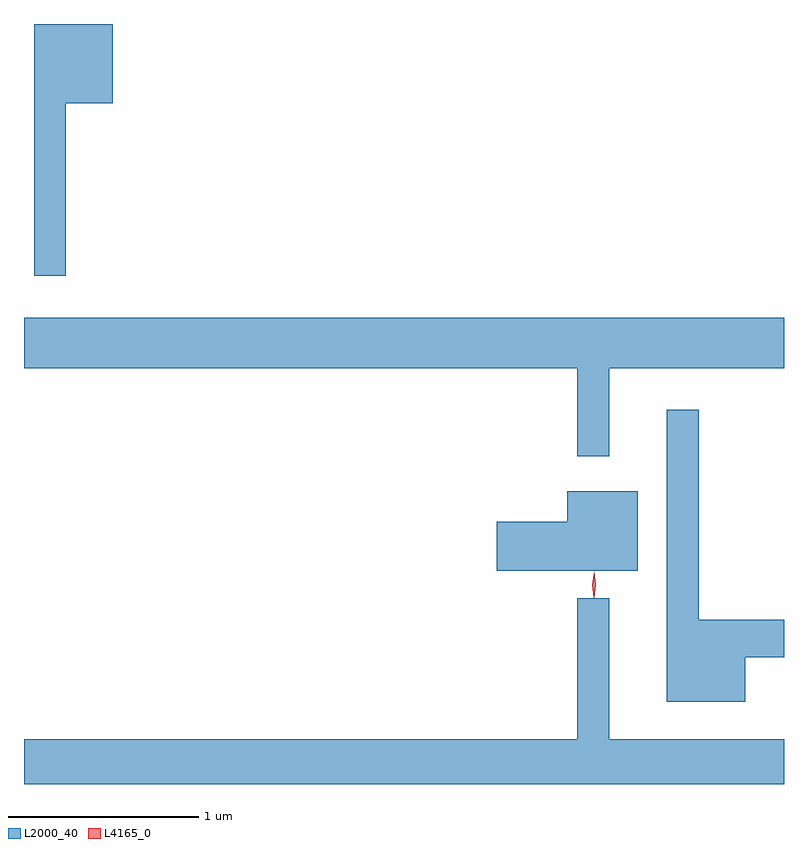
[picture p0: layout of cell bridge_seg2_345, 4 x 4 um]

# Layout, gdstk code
import gdstk
lib = gdstk.Library(unit=1e-6, precision=1e-09)
def P(c, l, *ps):  # polygons
    for p in ps: c.add(gdstk.Polygon(p, *l))
L2000_40 = (2000, 40)
L4165_0 = (4165, 0)

bridge_seg2_345 = lib.new_cell('bridge_seg2_345')
P(bridge_seg2_345, L2000_40, [(385.449,1038.611),(385.694,1038.611),(385.694,1039.029),(385.281,1039.029),(385.281,1037.703),(385.449,1037.703)],
  [(388.309,1037.216),(389.228,1037.216),(389.228,1037.484),(385.228,1037.484),(385.228,1037.216),(388.141,1037.216),(388.141,1036.753),(388.309,1036.753)],
  [(389.024,1035.696),(389.228,1035.696),(389.228,1035.894),(388.779,1035.894),(388.779,1036.998),(388.611,1036.998),(388.611,1035.461),(389.024,1035.461)],
  [(388.459,1036.569),(388.086,1036.569),(388.086,1036.409),(387.716,1036.409),(387.716,1036.151),(388.459,1036.151)],
  [(389.228,1035.264),(388.309,1035.264),(388.309,1036.007),(388.141,1036.007),(388.141,1035.264),(385.228,1035.264),(385.228,1035.029),(389.228,1035.029)])
P(bridge_seg2_345, L4165_0, [(388.227,1036.01),(388.227,1036.01),(388.218,1036.078),(388.228,1036.146),(388.229,1036.146),(388.229,1036.146),(388.238,1036.078),(388.228,1036.01)],
  [(388.227,1036.013),(388.227,1036.013),(388.218,1036.076),(388.229,1036.139),(388.229,1036.14),(388.23,1036.139),(388.238,1036.076),(388.228,1036.013)])

lib.write_gds('bridge_seg2_345.gds')
